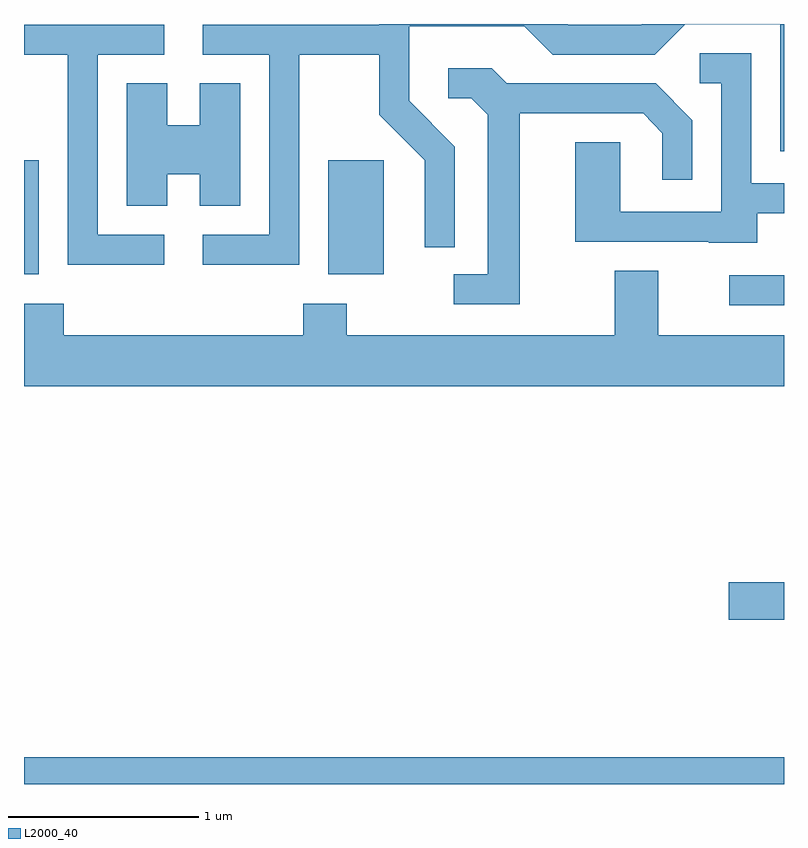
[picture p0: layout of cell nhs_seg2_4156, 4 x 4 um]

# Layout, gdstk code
import gdstk
lib = gdstk.Library(unit=1e-6, precision=1e-09)
def R(c, l, rs):  # rectangles x0, y0, x1, y1
    for r in rs: c.add(gdstk.rectangle(r[:2], r[2:], *l))
def P(c, l, *ps):  # polygons
    for p in ps: c.add(gdstk.Polygon(p, *l))
L2000_40 = (2000, 40)

nhs_seg2_4156 = lib.new_cell('nhs_seg2_4156')
R(nhs_seg2_4156, L2000_40, [(307.611,1021.802,311.611,1021.944), (311.321,1022.666,311.611,1022.864), (311.323,1024.321,311.611,1024.479), (307.611,1024.486,307.689,1025.084), (309.211,1024.486,309.504,1025.084)])
P(nhs_seg2_4156, L2000_40, [(309.059,1025.641),(309.481,1025.641),(309.481,1025.324),(309.721,1025.084),(309.721,1024.628),(309.879,1024.628),(309.879,1025.157),(309.639,1025.397),(309.639,1025.791),(310.244,1025.791),(310.394,1025.641),(310.932,1025.641),(311.092,1025.801),(311.591,1025.801),(311.591,1025.131),(311.611,1025.131),(311.611,1025.802),(310.862,1025.802),(310.859,1025.799),(310.477,1025.799),(310.474,1025.802),(309.481,1025.802),(309.481,1025.799),(308.553,1025.799),(308.553,1025.641),(308.901,1025.641),(308.901,1024.694),(308.553,1024.694),(308.553,1024.536),(309.059,1024.536)],
  [(308.348,1024.694),(307.999,1024.694),(307.999,1025.641),(308.348,1025.641),(308.348,1025.799),(307.611,1025.799),(307.611,1025.641),(307.841,1025.641),(307.841,1024.536),(308.348,1024.536)],
  [(311.469,1024.806),(311.611,1024.806),(311.611,1024.964),(311.439,1024.964),(311.439,1025.649),(311.168,1025.649),(311.168,1025.491),(311.281,1025.491),(311.281,1024.814),(310.749,1024.814),(310.749,1025.179),(310.511,1025.179),(310.511,1024.656),(311.215,1024.656),(311.215,1024.651),(311.469,1024.651)],
  [(310.219,1025.331),(310.869,1025.331),(310.971,1025.228),(310.971,1024.983),(311.129,1024.983),(311.129,1025.296),(310.937,1025.489),(310.152,1025.489),(310.072,1025.569),(309.843,1025.569),(309.843,1025.411),(309.964,1025.411),(310.051,1025.324),(310.051,1024.484),(309.873,1024.484),(309.873,1024.326),(310.219,1024.326)],
  [(308.364,1025.011),(308.536,1025.011),(308.536,1024.846),(308.749,1024.846),(308.749,1025.489),(308.536,1025.489),(308.536,1025.269),(308.364,1025.269),(308.364,1025.489),(308.151,1025.489),(308.151,1024.846),(308.364,1024.846)],
  [(311.611,1024.164),(310.949,1024.164),(310.949,1024.504),(310.721,1024.504),(310.721,1024.164),(309.309,1024.164),(309.309,1024.329),(309.081,1024.329),(309.081,1024.164),(307.819,1024.164),(307.819,1024.329),(307.611,1024.329),(307.611,1023.896),(311.611,1023.896)])

lib.write_gds('nhs_seg2_4156.gds')
